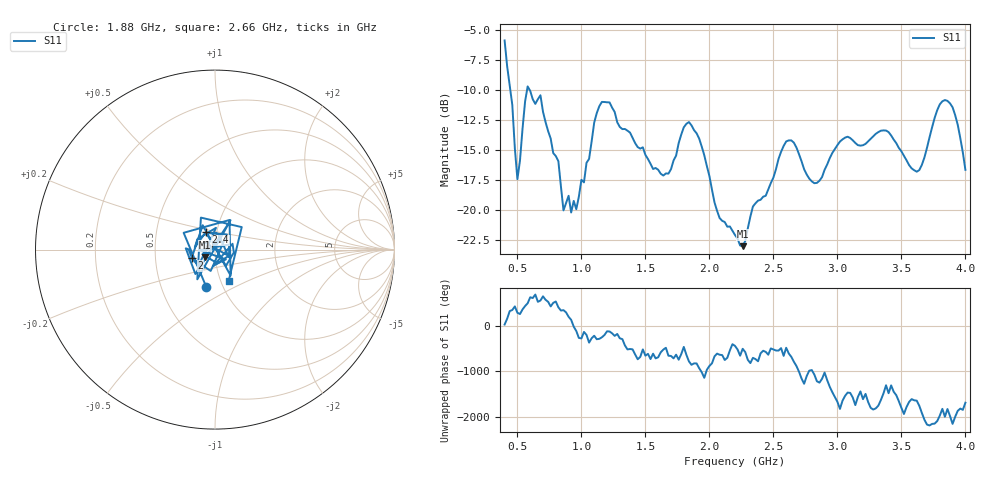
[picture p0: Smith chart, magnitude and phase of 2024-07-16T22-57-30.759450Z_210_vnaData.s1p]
!Created with skrf (http://scikit-rf.org).
# Hz S RI R 50.0
!freq ReS11 ImS11
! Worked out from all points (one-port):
!   181 points, 400 MHz to 4 GHz, reference 50 ohm
!   lowest |S11| = -23.1 dB at 2.26 GHz (marker M1), VSWR 1.15, Z = 44.5 - j3.79 ohm
!   |S11| at or under -10 dB: 444.4 MHz to 575.2 MHz (130.9 MHz wide, 25.7 % of centre); 596.3 MHz to end of sweep
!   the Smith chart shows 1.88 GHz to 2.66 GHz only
!   S11 on the Smith chart (normalised r, x): 1.88 GHz: 0.83, -0.37; 2 GHz: 0.77, -0.07; 2.4 GHz: 0.89, +0.17; 2.66 GHz: 1.09, -0.40
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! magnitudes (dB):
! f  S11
! 400 MHz  -5.9
! 460 MHz  -11.2
! 500 MHz  -17.5
! 580 MHz  -9.7
! 680 MHz  -10.4
! 820 MHz  -15.9
! 860 MHz  -20.1
! 960 MHz  -20.0
! 1.16 GHz  -11.0
! 1.3 GHz  -13.1
! 1.64 GHz  -17.1
! 1.76 GHz  -14.4
! 1.88 GHz  -13.4
! 2 GHz  -17.2
! 2.08 GHz  -20.7
! 2.2 GHz  -22.1
! 2.26 GHz  -23.1
! 2.4 GHz  -19.2
! 2.6 GHz  -14.3
! 2.66 GHz  -14.4
! 2.82 GHz  -17.8
! 3.1 GHz  -14.0
! 3.38 GHz  -13.4
! 3.56 GHz  -16.3
! 3.64 GHz  -16.7
! 3.84 GHz  -10.8
! 3.92 GHz  -12.1
! 4 GHz  -16.7
